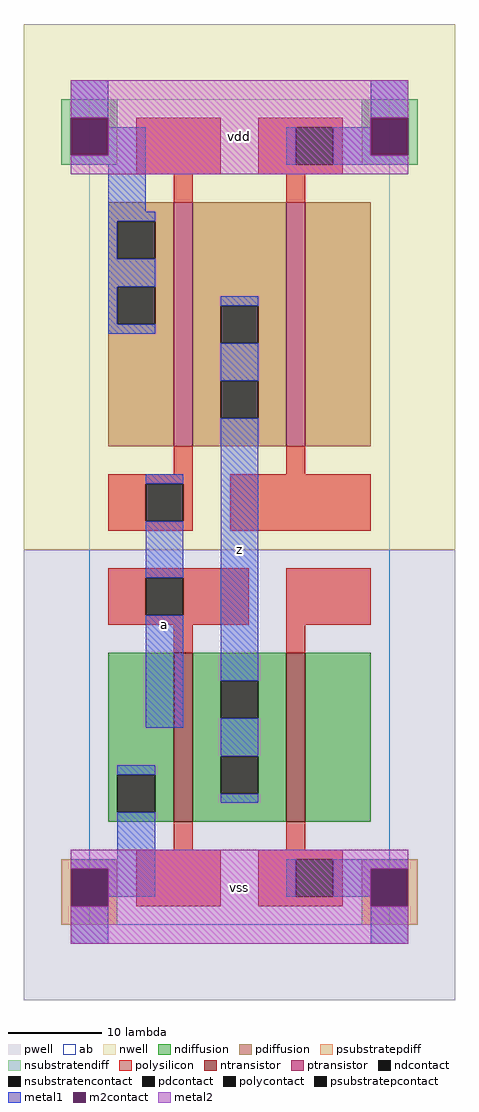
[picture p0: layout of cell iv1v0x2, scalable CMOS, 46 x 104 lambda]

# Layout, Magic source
magic
tech scmos
<< ab >>
rect 0 0 32 88
<< pwell >>
rect -7 -8 39 40
<< nwell >>
rect -7 40 39 96
<< polysilicon >>
rect 5 80 14 86
rect 18 85 27 86
rect 18 81 22 85
rect 26 81 27 85
rect 18 80 27 81
rect 9 77 11 80
rect 21 77 23 80
rect 9 48 11 51
rect 21 48 23 51
rect 2 47 11 48
rect 2 43 6 47
rect 10 43 11 47
rect 2 42 11 43
rect 15 42 30 48
rect 2 37 17 38
rect 2 33 6 37
rect 10 33 17 37
rect 2 32 17 33
rect 21 32 30 38
rect 9 29 11 32
rect 21 29 23 32
rect 9 8 11 11
rect 21 8 23 11
rect 5 2 14 8
rect 18 7 27 8
rect 18 3 22 7
rect 26 3 27 7
rect 18 2 27 3
<< ndiffusion >>
rect 2 16 9 29
rect 2 12 3 16
rect 7 12 9 16
rect 2 11 9 12
rect 11 26 21 29
rect 11 22 14 26
rect 18 22 21 26
rect 11 18 21 22
rect 11 14 14 18
rect 18 14 21 18
rect 11 11 21 14
rect 23 11 30 29
<< pdiffusion >>
rect 2 75 9 77
rect 2 71 3 75
rect 7 71 9 75
rect 2 68 9 71
rect 2 64 3 68
rect 7 64 9 68
rect 2 51 9 64
rect 11 66 21 77
rect 11 62 14 66
rect 18 62 21 66
rect 11 58 21 62
rect 11 54 14 58
rect 18 54 21 58
rect 11 51 21 54
rect 23 51 30 77
<< metal1 >>
rect -2 86 2 90
rect 30 86 34 90
rect 2 82 6 85
rect -2 81 6 82
rect 21 81 22 85
rect 26 82 30 85
rect 26 81 34 82
rect 2 76 6 81
rect 2 75 7 76
rect 2 71 3 75
rect 2 68 7 71
rect 2 64 3 68
rect 2 63 7 64
rect 14 66 18 67
rect 14 58 18 62
rect 6 47 10 48
rect 6 37 10 43
rect 6 21 10 33
rect 14 26 18 54
rect 14 18 18 22
rect 3 16 7 17
rect 14 13 18 14
rect 3 7 7 12
rect -2 6 7 7
rect 2 3 7 6
rect 21 3 22 7
rect 26 6 34 7
rect 26 3 30 6
rect -2 -2 2 2
rect 30 -2 34 2
<< metal2 >>
rect -2 86 34 90
rect 2 82 30 86
rect -2 80 34 82
rect -2 6 34 8
rect 2 2 30 6
rect -2 -2 34 2
<< ntransistor >>
rect 9 11 11 29
rect 21 11 23 29
<< ptransistor >>
rect 9 51 11 77
rect 21 51 23 77
<< polycontact >>
rect 22 81 26 85
rect 6 43 10 47
rect 6 33 10 37
rect 22 3 26 7
<< ndcontact >>
rect 3 12 7 16
rect 14 22 18 26
rect 14 14 18 18
<< pdcontact >>
rect 3 71 7 75
rect 3 64 7 68
rect 14 62 18 66
rect 14 54 18 58
<< m2contact >>
rect -2 82 2 86
rect 30 82 34 86
rect -2 2 2 6
rect 30 2 34 6
<< psubstratepcontact >>
rect -2 2 2 6
rect 30 2 34 6
<< nsubstratencontact >>
rect -2 82 2 86
rect 30 82 34 86
<< psubstratepdiff >>
rect -3 6 3 7
rect -3 2 -2 6
rect 2 2 3 6
rect 29 6 35 7
rect 29 2 30 6
rect 34 2 35 6
rect -3 0 3 2
rect 29 0 35 2
<< nsubstratendiff >>
rect -3 86 3 88
rect 29 86 35 88
rect -3 82 -2 86
rect 2 82 3 86
rect -3 81 3 82
rect 29 82 30 86
rect 34 82 35 86
rect 29 81 35 82
<< labels >>
rlabel metal1 8 32 8 32 6 a
rlabel metal1 16 40 16 40 6 z
rlabel metal2 16 4 16 4 6 vss
rlabel metal2 16 84 16 84 6 vdd
<< end >>
